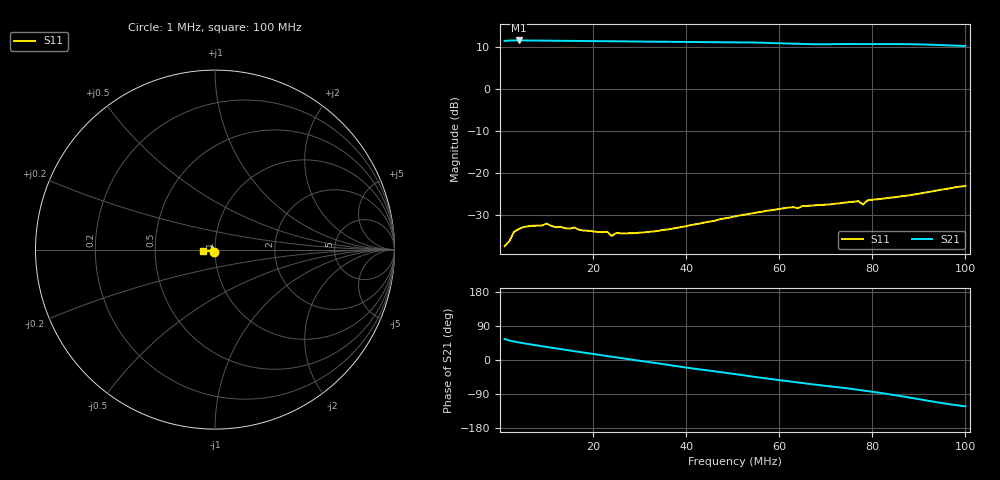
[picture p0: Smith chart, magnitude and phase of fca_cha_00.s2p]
# HZ S RI R 50
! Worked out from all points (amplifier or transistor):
!   100 points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, 1 MHz to 100 MHz, reference 50 ohm
!   highest |S21| = 11.4 dB at 4 MHz (marker M1)
!   |S21| within 3 dB of that: start of sweep to end of sweep
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1000001  -0.00748 -0.0111  2.099 3.031  0 0  0 0
2000001  -0.0138 0.00661  2.322 2.913  0 0  0 0
3000001  -0.0155 0.0122  2.458 2.81  0 0  0 0
4000001  -0.0159 0.0141  2.568 2.71  0 0  0 0
1.1e7  -0.017 0.0161  3.125 1.998  0 0  0 0
1.8e7  -0.0165 0.0121  3.463 1.232  0 0  0 0
2.3e7  -0.0138 0.0143  3.6 0.6581  0 0  0 0
2.4e7  -0.0143 0.0105  3.609 0.5507  0 0  0 0
2.7e7  -0.0179 0.00628  3.633 0.2171  0 0  0 0
3.4e7  -0.0202 0.00181  3.562 -0.5668  0 0  0 0
4.1e7  -0.0237 -0.00222  3.329 -1.321  0 0  0 0
5.1e7  -0.0298 -0.00699  2.788 -2.181  0 0  0 0
5.7e7  -0.0341 -0.00804  2.326 -2.61  0 0  0 0
6.7e7  -0.0399 -0.00751  1.483 -3.028  0 0  0 0
7.5e7  -0.0439 -0.00832  0.8558 -3.274  0 0  0 0
7.8e7  -0.0414 -0.00584  0.5589 -3.334  0 0  0 0
7.9e7  -0.046 -0.00887  0.4676 -3.348  0 0  0 0
8.4e7  -0.0495 -0.0102  -0.0685 -3.377  0 0  0 0
8.8e7  -0.0526 -0.0113  -0.5346 -3.325  0 0  0 0
9.1e7  -0.0563 -0.0119  -0.8923 -3.223  0 0  0 0
9.5e7  -0.0618 -0.0119  -1.321 -3.009  0 0  0 0
1e8  -0.0688 -0.0097  -1.714 -2.715  0 0  0 0
